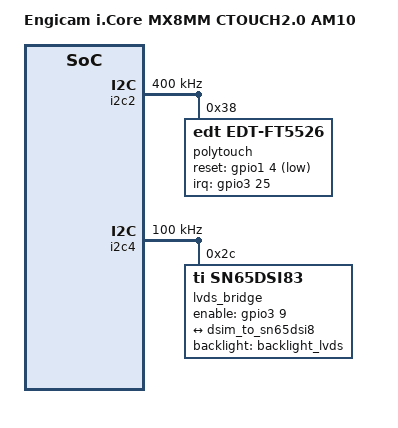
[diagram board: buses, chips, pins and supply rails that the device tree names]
/*
 * Copyright 2020 Engicam srl
 * Copyright 2018 NXP
 *
 * This program is free software; you can redistribute it and/or
 * modify it under the terms of the GNU General Public License
 * as published by the Free Software Foundation; either version 2
 * of the License, or (at your option) any later version.
 *
 * This program is distributed in the hope that it will be useful,
 * but WITHOUT ANY WARRANTY; without even the implied warranty of
 * MERCHANTABILITY or FITNESS FOR A PARTICULAR PURPOSE.  See the
 * GNU General Public License for more details.
 */

#include "icore-imx8mm-ctouch2.dts"

/ {
	model = "Engicam i.Core MX8MM CTOUCH2.0 AM10";
};


&i2c2 {
	clock-frequency = <400000>;
	pinctrl-names = "default";
	pinctrl-0 = <&pinctrl_i2c2>;
	status = "okay";

    polytouch: edt-ft5x26@38 {
                compatible = "edt,edt-ft5526";
                reg = <0x38>;
                pinctrl-names = "default";
                pinctrl-0 = <&pinctrl_edt_ft5x26>;
                interrupt-parent = <&gpio3>;
//                interrupts = <25 IRQ_TYPE_EDGE_FALLING>;
//                reset-gpios= <&gpio1 4 GPIO_ACTIVE_LOW>;
                interrupts = <25 0>;
                reset-gpios= <&gpio1 4 1>;
    };
};

&i2c4 {
  clock-frequency = <100000>;
  pinctrl-names = "default";
  pinctrl-0 = <&pinctrl_i2c4>;
  status = "okay";

  lvds_bridge: sn65dsi83@2c {
    compatible = "ti,sn65dsi83";
    reg = <0x2c>;
    ti,dsi-lanes = <2>;
    ti,lvds-format = <2>;
    ti,lvds-bpp = <24>;
    ti,width-mm = <149>;
    ti,height-mm = <93>;
    enable-gpios = <&gpio3 9  GPIO_ACTIVE_HIGH>;
    pinctrl-names = "default";
    pinctrl-0 = <&pinctrl_dsi_lvds_bridge>;
    backlight = <&backlight_lvds>;
    backlight-brightness-level = <7>;    
    status = "okay";

       display-timings {
            lvds {
                clock-frequency = <62500000>;
                hactive = <1024>;
                vactive = <600>;
                hback-porch = <60>;
                hfront-porch = <50>;
                vback-porch = <2>;
                vfront-porch = <3>;
                hsync-len = <20>;
                vsync-len = <1>;
                hsync-active = <0>;
                vsync-active = <0>;
                de-active = <1>;
                pixelclk-active = <0>;
            };
        };

    port {
      sn65dsi83_in: endpoint {
        remote-endpoint = <&dsim_to_sn65dsi8>;
      };
    };
  };
};

&iomuxc {
	touchpanel{
		pinctrl_edt_ft5x26:  edt-ft5x26grp  {
			fsl,pins = <
					MX8MM_IOMUXC_SAI5_MCLK_GPIO3_IO25   		0xc6
//					MX8MM_IOMUXC_GPIO1_IO08_GPIO1_IO8		0x19
					MX8MM_IOMUXC_GPIO1_IO04_GPIO1_IO4		0x19
			>;	
		};
	};
};
